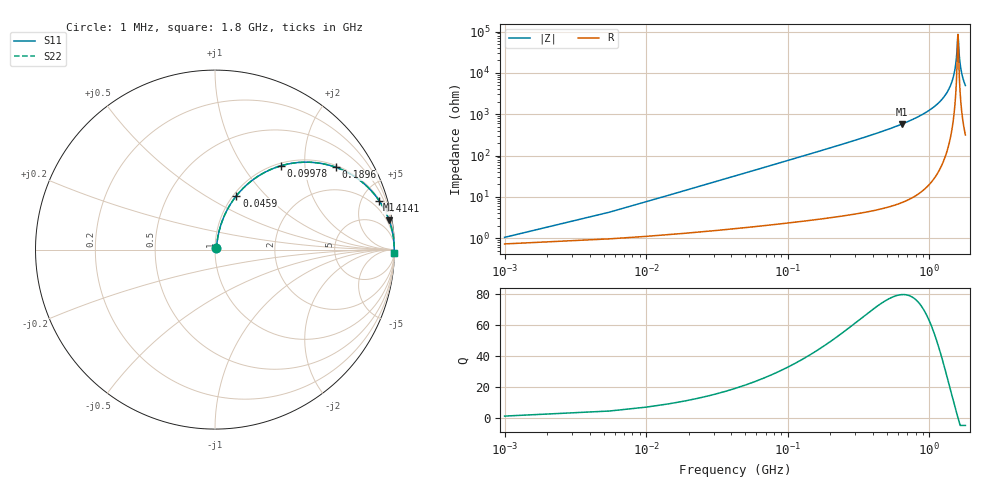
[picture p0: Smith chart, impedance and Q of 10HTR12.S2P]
! Coilcraft 1008HT-R12 Chip Inductor
! 16 July 2002
# MHZ S MA R 50
!Freq  MagS11  AngS11  MagS21  AngS21  MagS12  AngS12  MagS22  AngS22
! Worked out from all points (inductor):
!   402 points, 1 MHz to 1.8 GHz, reference 50 ohm
!   read as one part in series: L = 120 nH near 9.98 MHz
!   highest Q = 79.4 at 643.1 MHz (marker M1), where L = 143 nH
!   self-resonance near 1.59 GHz
!   S11 on the Smith chart (normalised r, x): 1 MHz: 1.01, +0.02; 45.9 MHz: 1.03, +0.69; 99.78 MHz: 1.05, +1.51; 189.6 MHz: 1.06, +2.90; 414.1 MHz: 1.09, +6.70; 1.8 GHz: 7, -99
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1  0.01039 45.7  0.9928 -0.4  0.9928 -0.4  0.01039 45.7
14.47  0.1078 77.5  0.9823 -6.2  0.9823 -6.2  0.1078 77.5
18.96  0.1403 76.7  0.9773 -8.0  0.9773 -8.0  0.1403 76.7
32.43  0.2346 72.8  0.9573 -13.5  0.9573 -13.5  0.2346 72.8
45.9  0.3227 68.3  0.9304 -18.8  0.9304 -18.8  0.3227 68.3
99.78  0.5942 51.8  0.7863 -36.4  0.7863 -36.4  0.5942 51.8
189.58  0.8153 34.2  0.5622 -54.6  0.5622 -54.6  0.8153 34.2
301.83  0.9154 22.8  0.3878 -66.3  0.3878 -66.3  0.9154 22.8
414.08  0.9545 16.6  0.2851 -72.6  0.2851 -72.6  0.9545 16.6
602.66  0.9804 10.7  0.1849 -78.6  0.1849 -78.6  0.9804 10.7
643.07  0.9833 9.8  0.1698 -79.5  0.1698 -79.5  0.9833 9.8
903.49  0.9937 5.7  0.09905 -83.5  0.09905 -83.5  0.9937 5.7
1204.32  0.9977 2.7  0.04723 -85.9  0.04723 -85.9  0.9977 2.7
1388.41  0.9986 1.3  0.02311 -85.9  0.02311 -85.9  0.9986 1.3
1500.66  0.9988 0.6  0.01017 -83.0  0.01017 -83.0  0.9988 0.6
1550.05  0.9988 0.3  0.004865 -75.9  0.004865 -75.9  0.9988 0.3
1585.97  0.9988 0.1  0.00149 -38.0  0.00149 -38.0  0.9988 0.1
1594.95  0.9988 -0.0  0.001177 0.9  0.001177 0.9  0.9988 -0.0
1635.36  0.9988 -0.2  0.004343 73.8  0.004343 73.8  0.9988 -0.2
1666.79  0.9988 -0.4  0.007438 80.2  0.007438 80.2  0.9988 -0.4
1725.16  0.9987 -0.7  0.01312 83.8  0.01312 83.8  0.9987 -0.7
1800  0.9985 -1.2  0.02019 85.2  0.02019 85.2  0.9985 -1.2
